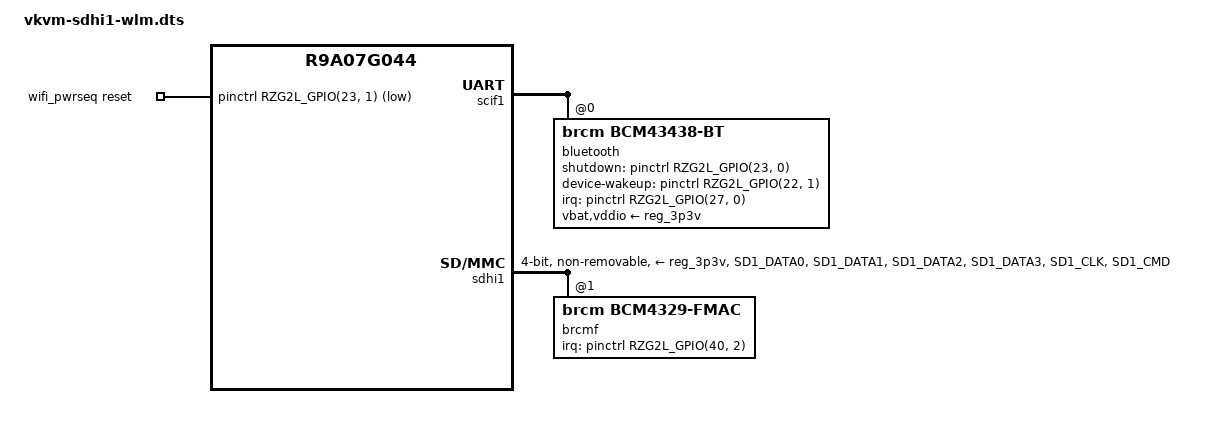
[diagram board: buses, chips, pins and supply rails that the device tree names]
/*
 * Copyright 2026 Vekatech
 *
 * This program is free software; you can redistribute it and/or
 * modify it under the terms of the GNU General Public License
 * as published by the Free Software Foundation; either version 2
 * of the License, or (at your option) any later version.
 *
 * This program is distributed in the hope that it will be useful,
 * but WITHOUT ANY WARRANTY; without even the implied warranty of
 * MERCHANTABILITY or FITNESS FOR A PARTICULAR PURPOSE. See the
 * GNU General Public License for more details.
 */

/dts-v1/;
/plugin/;

#include <dt-bindings/pinctrl/rzg2l-pinctrl.h>
#include <dt-bindings/gpio/gpio.h>
#include <dt-bindings/interrupt-controller/irq.h>

/{
	compatible = "vekatech,vk-vmcarrier", 
	             "renesas,r9a07g044l2", 
		     "renesas,r9a07g044";
};


&{/} {
	wifi_pwrseq: wifi_pwrseq {
		compatible = "mmc-pwrseq-simple";
		reset-gpios = <&pinctrl RZG2L_GPIO(23, 1) GPIO_ACTIVE_LOW>;
	};
};

&scif1 {
	status = "okay";

	pinctrl-0 = <&scif1_pins>;
	pinctrl-names = "default";
	uart-has-rtscts;

	bluetooth: bluetooth@0 {
		status = "okay";

		compatible = "brcm,bcm43438-bt";
		vbat-supply = <&reg_3p3v>;
		vddio-supply = <&reg_3p3v>;
		shutdown-gpios = <&pinctrl RZG2L_GPIO(23, 0) GPIO_ACTIVE_HIGH>;
		device-wakeup-gpios = <&pinctrl RZG2L_GPIO(22, 1) GPIO_ACTIVE_HIGH>;
		interrupt-parent = <&pinctrl>;
		interrupts = <RZG2L_GPIO(27, 0) IRQ_TYPE_LEVEL_LOW>;
		interrupt-names = "host-wakeup";
		clocks = <&osc_32k>;
		clock-names = "lpo";
		max-speed = <4000000>;

		// #sound-dai-cells = <0>;
		// brcm,bt-pcm-int-params	= [01 02 00 01 01];
	};
};

&sdhi1 {
	status = "okay";

	#address-cells = <1>;
	#size-cells = <0>;

	pinctrl-names = "default";
	pinctrl-0 = <&wifi_pins>;
	vmmc-supply = <&reg_3p3v>;
	vqmmc-supply = <&vccq_sdhi1>;
	bus-width = <4>;
	non-removable;
	mmc-pwrseq = <&wifi_pwrseq>;
        cap-sd-highspeed;
	cap-power-off-card;
	keep-power-in-suspend;

	brcmf: bcrmf@1 {
		reg = <1>;
		compatible = "brcm,bcm4329-fmac";
		status = "okay";
		interrupt-parent = <&pinctrl>;
		interrupts = <RZG2L_GPIO(40, 2) IRQ_TYPE_LEVEL_HIGH>;
		interrupt-names = "host-wake";
	};

};

&pinctrl {
	scif1_pins: scif1 {
		pinmux = <RZG2L_PORT_PINMUX(40, 0, 1)>, /* TxD */
			 <RZG2L_PORT_PINMUX(40, 1, 1)>, /* RxD */
			 <RZG2L_PORT_PINMUX(41, 0, 1)>, /* CTS# */
			 <RZG2L_PORT_PINMUX(41, 1, 1)>; /* RTS# */
	};

	wifi_pins: wifi {
		wifi_data {
			pins = "SD1_DATA0", "SD1_DATA1", "SD1_DATA2", "SD1_DATA3";
			power-source  = <3300>;
		};

		wifi_ctrl {
			pins = "SD1_CLK", "SD1_CMD";
			power-source  = <3300>;
		};
	};
};

